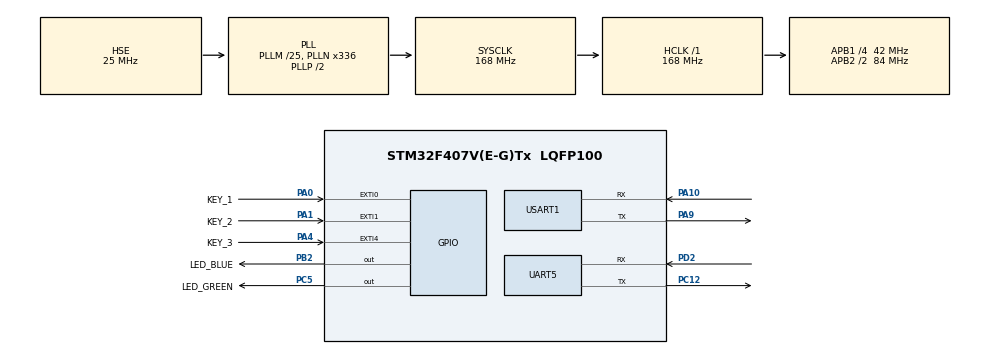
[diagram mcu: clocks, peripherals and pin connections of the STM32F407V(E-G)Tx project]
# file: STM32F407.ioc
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Mcu.Family=STM32F4
Mcu.Name=STM32F407V(E-G)Tx
Mcu.Package=LQFP100
NVIC.EXTI0_IRQn=true\:0\:0\:false\:false\:true\:true\:true\:true
NVIC.EXTI1_IRQn=true\:0\:0\:false\:false\:true\:true\:true\:true
NVIC.EXTI4_IRQn=true\:0\:0\:false\:false\:true\:true\:true\:true
NVIC.PriorityGroup=NVIC_PRIORITYGROUP_4
PA0-WKUP.GPIO_Label=KEY_1
PA0-WKUP.GPIO_ModeDefaultEXTI=GPIO_MODE_IT_RISING
PA0-WKUP.GPIO_PuPd=GPIO_PULLDOWN
PA0-WKUP.Signal=GPXTI0
PA1.GPIO_Label=KEY_2
PA1.GPIO_ModeDefaultEXTI=GPIO_MODE_IT_FALLING
PA1.GPIO_PuPd=GPIO_PULLUP
PA1.Signal=GPXTI1
PA10.Mode=Asynchronous
PA10.Signal=USART1_RX
PA13.Mode=Serial_Wire
PA13.Signal=SYS_JTMS-SWDIO
PA14.Mode=Serial_Wire
PA14.Signal=SYS_JTCK-SWCLK
PA4.GPIO_Label=KEY_3
PA4.GPIO_ModeDefaultEXTI=GPIO_MODE_IT_FALLING
PA4.GPIO_PuPd=GPIO_PULLUP
PA4.Signal=GPXTI4
PA9.Mode=Asynchronous
PA9.Signal=USART1_TX
PB2.GPIO_Label=LED_BLUE
PB2.Signal=GPIO_Output
PC12.Mode=Asynchronous
PC12.Signal=UART5_TX
PC5.GPIO_Label=LED_GREEN
PC5.Signal=GPIO_Output
PD2.Mode=Asynchronous
PD2.Signal=UART5_RX
PH0-OSC_IN.Mode=HSE-External-Oscillator
PH0-OSC_IN.Signal=RCC_OSC_IN
PH1-OSC_OUT.Mode=HSE-External-Oscillator
PH1-OSC_OUT.Signal=RCC_OSC_OUT
ProjectManager.HeapSize=0x200
ProjectManager.StackSize=0x1000
ProjectManager.TargetToolchain=MDK-ARM V5.32
RCC.48MHZClocksFreq_Value=84000000
RCC.AHBFreq_Value=168000000
RCC.APB1CLKDivider=RCC_HCLK_DIV4
RCC.APB1Freq_Value=42000000
RCC.APB1TimFreq_Value=84000000
RCC.APB2CLKDivider=RCC_HCLK_DIV2
RCC.APB2Freq_Value=84000000
RCC.APB2TimFreq_Value=168000000
RCC.CortexFreq_Value=168000000
RCC.HCLKFreq_Value=168000000
RCC.HSE_VALUE=25000000
RCC.HSI_VALUE=16000000
RCC.LSE_VALUE=32768
RCC.PLLM=25
RCC.PLLN=336
RCC.PLLSourceVirtual=RCC_PLLSOURCE_HSE
RCC.SYSCLKFreq_VALUE=168000000
RCC.SYSCLKSource=RCC_SYSCLKSOURCE_PLLCLK
RCC.VCOOutputFreq_Value=336000000
UART5.VirtualMode=Asynchronous
USART1.VirtualMode=VM_ASYNC
board=custom

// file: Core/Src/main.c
/* USER CODE BEGIN Header */
/***********************************************************************************************************************************
 ** 【代码编写】  魔女开发板团队
 ** 【淘    宝】  魔女开发板       https://demoboard.taobao.com
 ***********************************************************************************************************************************
 ** 【实验名称】  UART5 通信（接收数据 + 解析控制LED + 定时闪烁）
 **
 ** 【 约  定 】  本示例所用串口通信，为异步通信。
 **               2024年起更新的示例，串口通信函数命名时，统一使用"UART"，而不使用旧文件中的"USART".
 **
 ** 【适用平台】  STM32F407 + keil5 + HAL库
 **
 ** 【 CubeMX 】  无需通过CubeMX、CubeIDE开启、配置串口;
 **               bsp_UART.c中已重写好底层驱动文件，只需调用bsp_UART.h中声明的全局函数，即可初始化、发送、接收.
 **               如果还是想通过CubeMX开启串口，以方便标记使用哪些引脚，可以的，但是: 不能在CubeMX或CubeIDE中打勾使能"中断"、配置DMA, 否则冲突。
 **               即，无论有没有通过CubeMX开启UART，都能使用bsp_UART.h的函数，只要不打勾"中断”、"DMA"。
 **
 ** 【移植说明】  1- 复制本工程的UART文件夹，到目标工程文件夹中;
 **               2- 添加头文件路径： Keil > Option > C/C++ > Include Paths;
 **               3- 添加C文件到工程: Keil > 左侧工程管理器中双击目标文件夹 > 选择 bsp_UART.c;
 **               4- 添加文件引用:    #include "bsp_uart.h＂，即哪个文件要用串口功能，就在其代码顶部添加引用;
 **
 ** 【串口引脚】  六个串口的初始化函数UARTx_Init()，将按以下默认引脚进行初始化：
 **               1- UART1  TX_PA9   RX_PA10       特别说明：魔女开发板已板载虚拟串口，连接UART1，使用烧录USB即可与电脑通信
 **               2- UART2  TX_PA2   RX_PA3
 **               3- UART3  TX_PB10  RX_PB11
 **               4- UART4  TX_PC10  RX_PC11
 **               5- UART5  TX_PC12  RX_PD2
 **               6- UART6  TX_PC6   RX_PC7
 **
 ** 【代码功能】  1- UART1 / UART2 初始化（115200波特率）
 **               2- UART1 接收数据，自动解析 ASCII + 十六进制打印
 **               3- UART1 接收字符串包含"LED"时，翻转蓝色LED状态
 **               4- UART1 收到数据后，通过 UART5 转发发送
 **               5- UART5 收到数据后，通过 printf 输出到串口助手（UART1）方便调试
 **               6- 绿色LED 500ms 定时闪烁
 **               7- 按键中断可控制LED翻转
 **
 ** 【代码使用】  每组串口已封装7个函数，以UART1示范说明：
 **               初始化:             void      UART1_Init(uint32_t baudrate);                                        // 初始化串口; 配置GPIO引脚PA9+PA10、配置通信参数：波特率-None-8-1、配置中断
 **               发送字符串:         void      UART1_SendString(const char *string,...);                             // 发送字符串;   参数：字符串地址; 使用方法如同printf
 **               发送指定长度：      void      UART1_SendData(uint8_t *data, uint16_t num);                          // 发送指定数据; 参数：数据地址、字节数
 **               发送AT指令字符串：  uint8_t   UART1_SendAT(char *pcAT, char *pcAckString, uint16_t usTimeOutMs);    // 针对AT指令设备，发送并等待应答; 返回0失败/1成功
 **               获取接收的字节数:   uint16_t  UART1_GetRxNum(void);                                                 // 获取接收到的字节数; 大于0表示接收到新一帧数据
 **               获取接收的数据：    uint8_t*  UART1_GetRxData(void);                                                // 获取接收缓冲区首地址
 **               清零接收标志：      void      UART1_ClearRx(void);                                                  // 清空接收计数，处理完数据必须调用
 **
 *******************************************************************************/
/* USER CODE END Header */
#include "main.h"
#include "usart.h"
#include "gpio.h"

/* USER CODE BEGIN Includes */
#include "stdio.h"               // 用于sprintf函数
#include "bsp_UART.h"            // 串口通信底层驱动文件; 已重写好初始化、收发，调用函数即可使用串口;

/* USER CODE END Includes */

void SystemClock_Config(void);

/* USER CODE BEGIN 0 */
/* 用户代码，必须写在配对的BEGIN与END之间 */

/* USER CODE END 0 */

int main(void)
{
    /* USER CODE BEGIN 1 */

    /* 说明：
     * 1. 不要删除CubeMX生成的注释行（形如 USER CODE BEGIN/END），这些注释用于代码重新生成时的定位
     * 2. 所有用户自定义代码必须写在对应的BEGIN与END注释行之间，否则重新生成时会被覆盖
     * 3. 主要初始化函数说明：
     *    - HAL_Init()            初始化HAL库，配置中断优先级、系统时基等
     *    - SystemClock_Config()  配置系统时钟
     *    - MX_GPIO_Init()        初始化GPIO引脚（仅包含推挽输出、中断触发等配置）
     *    - 外设功能引脚（如UART、SPI等）的初始化在各自的功能文件中
     */

    /* USER CODE END 1 */

    /* MCU Configuration--------------------------------------------------------*/

    /* Reset of all peripherals, Initializes the Flash interface and the Systick. */
    HAL_Init();

    /* Configure the system clock */
    SystemClock_Config();

    /* Initialize all configured peripherals */
    MX_GPIO_Init();
    MX_USART1_UART_Init();
    MX_UART5_Init();
    /* USER CODE BEGIN 2 */
    /* 用户代码，必须写在配对的BEGIN与END之间 */

    HAL_GPIO_WritePin(GPIOC, GPIO_PIN_5, GPIO_PIN_SET);                    // 引脚置高电平，绿亮灭

    UART1_Init(115200);                                                    // 初始化 串口1; 已写好底层，调用h中的函数即可使用; 引脚(TX-PA9 + RX-PA10)、波特率-None-8-1; 如果使用CubeMX配置，请使用前述引脚，但，不要在MX上进行中断及DMA配置，否则冲突
    UART5_Init(115200);                                                    // 初始化 串口5; 引脚 (TX-PC12、RX-PD2)

    /* USER CODE END 2 */

    /* Infinite loop */
    while (1)
    {

        /* USER CODE BEGIN 3 */
        /* 用户代码，必须写在配对的BEGIN与END之间 */

        /** 1ms延时 **/
        HAL_Delay(1 - 1);                                                  // 延时函数，参数：ms; 注意：CubeMX生成的HAL_Delay(), 函数内部为避免无效操作，会对传入参数+1，因此，如果只需要几ms延时建议传入参数时-1，如果需要大几百ms的非精准延时，那参数不-1也影响不大

        /** 检查UART1是否收到数据 (串口助手) **/
        if (UART1_GetRxNum())                                              // 判断UART1是否获取到新一帧数据：函数返回的接收字节数，大于0，即为收到新一帧数据
        {
            uint8_t *rxData = UART1_GetRxData();                           // 获取数据的地址
            uint16_t rxNum = UART1_GetRxNum();                             // 获取数据的字节数
            printf("\r<<<<< UART1 接收到一帧数据 \r");                     // 提示接收到新一帧
            printf("字节数：%d \r", rxNum);                                // 显示字节数
            printf("ASCII : %s\r", (char *)rxData);                        // 显示数据，以ASCII方式显示，即以字符串的方式显示
            printf("16进制: ");                                            // 显示数据，以16进制方式，显示每一个字节的值
            for (uint16_t i = 0; i < rxNum; i++)                           // 逐个字节输出
                printf("0x%02X ", rxData[i]);                              // 以16进制显示
            printf("\r\r");                                                // 显示换行
            if (strstr((char *)UART1_GetRxData(), "LED"))                  // 判断接收到的字符串，是否有"LED"字样，如果有，就执行
            {
                HAL_GPIO_TogglePin(LED_BLUE_GPIO_Port, LED_BLUE_Pin);      // 反转LED电平
            }
            UART5_SendData(rxData, rxNum);                                 // 把数据转发出去
            UART1_ClearRx();                                               // 重要：清0接收标志，即清0接收到的字节数; 每次处理完成数据，就要调用这个函数清0
            // UART1_SendString("Hello World！\r");                        // 示范 UART1_SendString( )的使用; 可接受像pritnf的格式化参数
            // UART1_SendData((uint8_t*)"Hello World!\r", 13);             // 示范 UART1_SendData( )的使用, 可用于发送字符串、数组、结构体数据等
        }

        /** 检查UART5是否收到数据 **/
        if (UART5_GetRxNum())                                              // 判断UART5是否获取到新一帧数据：函数返回的接收字节数，大于0，即为收到新一帧数据
        {
            uint8_t *rxData = UART5_GetRxData();                           // 获取数据的地址
            uint16_t rxNum = UART5_GetRxNum();                             // 获取数据的字节数
            printf("\r<<<<< UART5 接收到一帧数据 \r");                     // 提示接收
            printf("字节数：%d \r", rxNum);                                // 显示字节数
            printf("ASCII : %s\r", (char *)rxData);                        // 显示数据，以ASCII方式显示，即以字符串的方式显示
            printf("16进制: ");                                            // 显示数据，以16进制方式，显示每一个字节的值
            for (uint16_t i = 0; i < rxNum; i++)                           // 逐个字节输出
                printf("0x%02X ", rxData[i]);                              // 以16进制显示
            printf("\r\r");                                                // 显示换行
            UART5_ClearRx();                                               // 重要：清0接收标志，即清0接收到的字节数; 每次处理完成数据，就要调用这个函数清0
            // UART5_SendString("Hello World！\r");                        // 示范 UART5_SendString( )的使用; 可接受像pritnf的格式化参数
            // UART5_SendData((uint8_t*)"Hello World!\r", 13);             // 示范 UART5_SendData( )的使用, 可用于发送字符串、数组、结构体数据等
        }

        /** 每500ms执行一次的任务 **/
        static uint32_t lastTime_500ms = 0;                                // 定义静态变量，用于记录上次执行这个任务的时间点(单位：毫秒)
        if (HAL_GetTick() - lastTime_500ms >= 500)                         // 检查当前时间距离上次执行是否已经过了500毫秒; HAL_GetTick()是获取启动后经过的毫秒数
        {
            HAL_GPIO_TogglePin(LED_GREEN_GPIO_Port, LED_GREEN_Pin);        // 控制绿色LED引脚电平翻转(PC5); 规律地闪烁LED，方便外部观察系统是否正常运行
            lastTime_500ms =   HAL_GetTick();                              // 记录当前时间，作为新的基准点，为下一次判断做准备
        }

    }
    /* USER CODE END 3 */
}

void SystemClock_Config(void)
{
    RCC_OscInitTypeDef RCC_OscInitStruct = {0};
    RCC_ClkInitTypeDef RCC_ClkInitStruct = {0};

    /** Configure the main internal regulator output voltage
    */
    __HAL_RCC_PWR_CLK_ENABLE();
    __HAL_PWR_VOLTAGESCALING_CONFIG(PWR_REGULATOR_VOLTAGE_SCALE1);

    /** Initializes the RCC Oscillators according to the specified parameters
    * in the RCC_OscInitTypeDef structure.
    */
    RCC_OscInitStruct.OscillatorType = RCC_OSCILLATORTYPE_HSE;
    RCC_OscInitStruct.HSEState = RCC_HSE_ON;
    RCC_OscInitStruct.PLL.PLLState = RCC_PLL_ON;
    RCC_OscInitStruct.PLL.PLLSource = RCC_PLLSOURCE_HSE;
    RCC_OscInitStruct.PLL.PLLM = 25;
    RCC_OscInitStruct.PLL.PLLN = 336;
    RCC_OscInitStruct.PLL.PLLP = RCC_PLLP_DIV2;
    RCC_OscInitStruct.PLL.PLLQ = 4;
    if (HAL_RCC_OscConfig(&RCC_OscInitStruct) != HAL_OK)
    {
        Error_Handler();
    }

    /** Initializes the CPU, AHB and APB buses clocks
    */
    RCC_ClkInitStruct.ClockType = RCC_CLOCKTYPE_HCLK | RCC_CLOCKTYPE_SYSCLK
                                  | RCC_CLOCKTYPE_PCLK1 | RCC_CLOCKTYPE_PCLK2;
    RCC_ClkInitStruct.SYSCLKSource = RCC_SYSCLKSOURCE_PLLCLK;
    RCC_ClkInitStruct.AHBCLKDivider = RCC_SYSCLK_DIV1;
    RCC_ClkInitStruct.APB1CLKDivider = RCC_HCLK_DIV4;
    RCC_ClkInitStruct.APB2CLKDivider = RCC_HCLK_DIV2;

    if (HAL_RCC_ClockConfig(&RCC_ClkInitStruct, FLASH_LATENCY_5) != HAL_OK)
    {
        Error_Handler();
    }
}

/* USER CODE BEGIN 4 */
/* 所有用户代码，必须写在配对的BEGIN与END之间 */

/******************************************************************************
 * 函  数： HAL_GPIO_EXTI_Callback
 * 功  能： EXTI中断回调函数
 * 参  数： uint16_t  GPIO_Pin    引脚编号，参数范围：GPIO_Pin_0 ~ GPIO_Pin_15
 * 返回值： 无
 * 备  注： CubeMX生成的代码在思维和风格上，与使用标准库编写时有很大的区别：
 *          1：这个是回调函数，不是中断服务函数。完整的调用：EXTIx_IRQHandler() > HAL_GPIO_EXTI_IRQHandler(GPIO_PIN_x) > HAL_GPIO_EXTI_Callback(GPIO_PIN_x)
 *          2：必须使用这个函数名称，因为它在CubeMX生成时，已被写好了各种函数调用、函数弱定义(在stm32xx_hal_gpio.c的底部); 不建议在原弱定义中增添代码，而应该重写函数
 *          3：中断条件触发后，本函数被自动调用，无需进行人工调用; 也无需进行中断标志的清理，因为HAL_GPIO_EXTI_IRQHandler()函数中已有操作;
 *          4：生成的所有EXTI中断服务函数，都统一调用这个函数，以引脚编号作参数
 *          5：判断参数传进来的引脚编号，即可知道是哪个外部中断线产生的中断信号
******************************************************************************/
void HAL_GPIO_EXTI_Callback(uint16_t GPIO_Pin)
{
    if (GPIO_Pin == KEY_1_Pin)                                  // 按键1 产生的中断信号：KEY_1、PA0、闲时下拉、按下时高电平、上升沿触发
    {
        HAL_GPIO_TogglePin(GPIOB, GPIO_PIN_2);                  // 反转蓝色LED灯
        printf("KEY_1 按下\r");                                 // 通过串口助手输出提示
    }

    if (GPIO_Pin == KEY_2_Pin)                                  // 按键2 产生的中断信号：KEY_2、PA1、闲时上拉、按下时低电平、下降沿触发
    {
        HAL_GPIO_TogglePin(GPIOB, GPIO_PIN_2);                  // 反转蓝色LED灯
        printf("KEY_2 按下\r");                                 // 通过串口助手输出提示
    }

    if (GPIO_Pin == KEY_3_Pin)                                  // 按键3 产生的中断信号：KEY_3、PA4、闲时上拉、按下低高电平、下降沿触发
    {
        HAL_GPIO_TogglePin(GPIOB, GPIO_PIN_2);                  // 反转蓝色LED灯
        printf("KEY_3 按下\r");                                 // 通过串口助手输出提示
    }
}

/* USER CODE END 4 */

void Error_Handler(void)
{
    __disable_irq();
    while (1)
    {
    }
}
